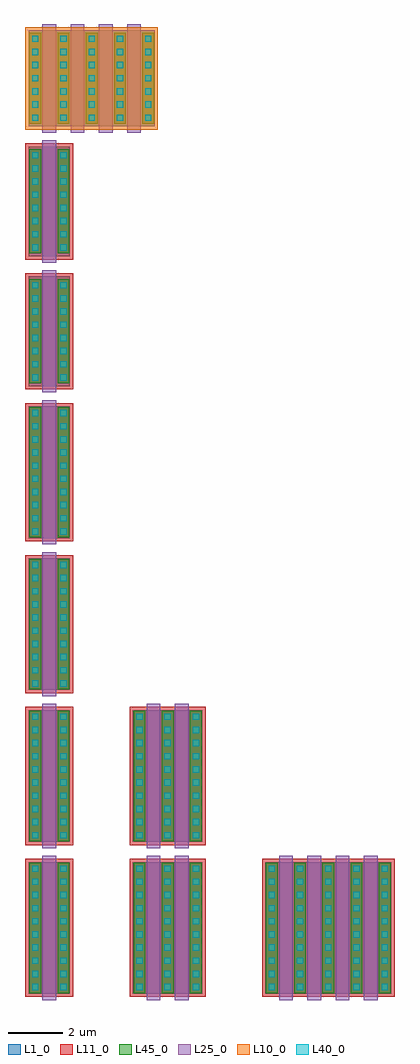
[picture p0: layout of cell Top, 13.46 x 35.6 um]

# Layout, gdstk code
import gdstk
lib = gdstk.Library(unit=1e-6, precision=1e-09)
def R(c, l, rs):  # rectangles x0, y0, x1, y1
    for r in rs: c.add(gdstk.rectangle(r[:2], r[2:], *l))
def A(c, l, x, y, w, h, nx, ny, dx, dy):  # array of equal rectangles
    R(c, l, [(x+i*dx, y+j*dy, x+i*dx+w, y+j*dy+h) for i in range(nx) for j in range(ny)])
L1_0 = (1, 0)
L10_0 = (10, 0)
L11_0 = (11, 0)
L25_0 = (25, 0)
L40_0 = (40, 0)
L45_0 = (45, 0)

mm4_0 = lib.new_cell('MM4_0')
A(mm4_0, L1_0, 0.2, 0.37, 1.5, 4.8, 1, 4, 0, 5.54)
A(mm4_0, L11_0, 0.08, 0.25, 1.74, 5.04, 1, 4, 0, 5.54)
A(mm4_0, L25_0, 0.7, 0.14, 0.5, 5.26, 1, 4, 0, 5.54)
A(mm4_0, L40_0, 0.32, 0.495, 0.23, 0.23, 1, 10, 0, 0.48)
A(mm4_0, L40_0, 1.35, 0.495, 0.23, 0.23, 1, 10, 0, 0.48)
A(mm4_0, L40_0, 0.32, 6.035, 0.23, 0.23, 1, 10, 0, 0.48)
A(mm4_0, L40_0, 1.35, 6.035, 0.23, 0.23, 1, 10, 0, 0.48)
A(mm4_0, L40_0, 0.32, 11.575, 0.23, 0.23, 1, 10, 0, 0.48)
A(mm4_0, L40_0, 1.35, 11.575, 0.23, 0.23, 1, 10, 0, 0.48)
A(mm4_0, L40_0, 0.32, 17.115, 0.23, 0.23, 1, 10, 0, 0.48)
A(mm4_0, L40_0, 1.35, 17.115, 0.23, 0.23, 1, 10, 0, 0.48)
A(mm4_0, L45_0, 0.22, 0.395, 0.43, 4.75, 1, 4, 0, 5.54)
A(mm4_0, L45_0, 1.25, 0.395, 0.43, 4.75, 1, 4, 0, 5.54)

mm4_1 = lib.new_cell('MM4_1')
R(mm4_1, L1_0, [(4,0.37,6.53,5.17), (4,5.91,6.53,10.71)])
R(mm4_1, L11_0, [(3.88,0.25,6.65,5.29), (3.88,5.79,6.65,10.83)])
R(mm4_1, L25_0, [(4.5,0.14,5,5.4), (5.53,0.14,6.03,5.4), (4.5,5.68,5,10.94), (5.53,5.68,6.03,10.94)])
A(mm4_1, L40_0, 4.12, 0.495, 0.23, 0.23, 3, 10, 1.03, 0.48)
A(mm4_1, L40_0, 4.12, 6.035, 0.23, 0.23, 3, 10, 1.03, 0.48)
A(mm4_1, L45_0, 4.02, 0.395, 0.43, 4.75, 3, 2, 1.03, 5.54)

mm4_2 = lib.new_cell('MM4_2')
R(mm4_2, L1_0, [(8.83,0.37,13.42,5.17)])
R(mm4_2, L11_0, [(8.71,0.25,13.54,5.29)])
A(mm4_2, L25_0, 9.33, 0.14, 0.5, 5.26, 4, 1, 1.03, 0)
A(mm4_2, L40_0, 8.95, 0.495, 0.23, 0.23, 5, 10, 1.03, 0.48)
A(mm4_2, L45_0, 8.85, 0.395, 0.43, 4.75, 5, 1, 1.03, 0)

mm3_0 = lib.new_cell('MM3_0')
R(mm3_0, L1_0, [(0.2,22.53,1.7,26.53)])
R(mm3_0, L11_0, [(0.08,22.41,1.82,26.65)])
R(mm3_0, L25_0, [(0.7,22.3,1.2,26.76)])
A(mm3_0, L40_0, 0.32, 22.735, 0.23, 0.23, 1, 8, 0, 0.48)
A(mm3_0, L40_0, 1.35, 22.735, 0.23, 0.23, 1, 8, 0, 0.48)
R(mm3_0, L45_0, [(0.22,22.635,0.65,26.425), (1.25,22.635,1.68,26.425)])

mm2_0 = lib.new_cell('MM2_0')
R(mm2_0, L1_0, [(0.2,27.27,1.7,31.27)])
R(mm2_0, L11_0, [(0.08,27.15,1.82,31.39)])
R(mm2_0, L25_0, [(0.7,27.04,1.2,31.5)])
A(mm2_0, L40_0, 0.32, 27.475, 0.23, 0.23, 1, 8, 0, 0.48)
A(mm2_0, L40_0, 1.35, 27.475, 0.23, 0.23, 1, 8, 0, 0.48)
R(mm2_0, L45_0, [(0.22,27.375,0.65,31.165), (1.25,27.375,1.68,31.165)])

bb0 = lib.new_cell('BB0')
R(bb0, L1_0, [(0.2,32.01,4.79,35.51)])
R(bb0, L10_0, [(0.08,31.89,4.91,35.63)])
A(bb0, L25_0, 0.7, 31.78, 0.5, 3.96, 4, 1, 1.03, 0)
A(bb0, L40_0, 0.32, 32.205, 0.23, 0.23, 5, 7, 1.03, 0.48)
A(bb0, L45_0, 0.22, 32.105, 0.43, 3.31, 5, 1, 1.03, 0)

top = lib.new_cell('Top')
top.add(gdstk.Reference(mm4_0, (0,0)))
top.add(gdstk.Reference(mm4_1, (0,0)))
top.add(gdstk.Reference(mm4_2, (0,0)))
top.add(gdstk.Reference(mm3_0, (0,0)))
top.add(gdstk.Reference(mm2_0, (0,0)))
top.add(gdstk.Reference(bb0, (0,0)))

lib.write_gds('Top.gds')
